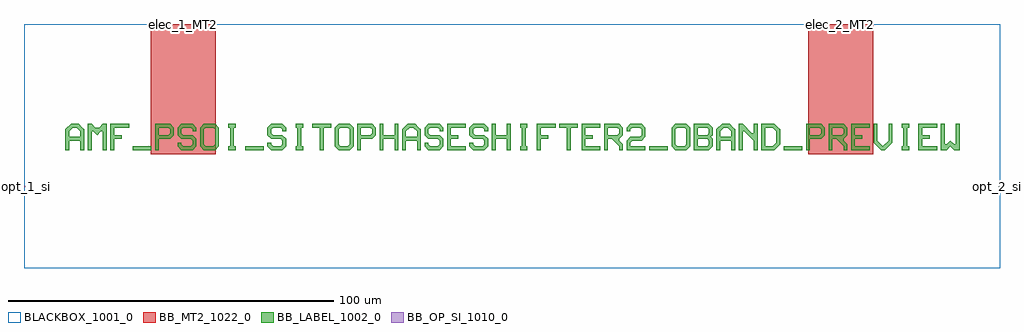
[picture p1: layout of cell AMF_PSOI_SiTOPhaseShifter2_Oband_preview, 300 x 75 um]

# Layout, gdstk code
import gdstk
lib = gdstk.Library(unit=1e-6, precision=1e-09)
def R(c, l, rs):  # rectangles x0, y0, x1, y1
    for r in rs: c.add(gdstk.rectangle(r[:2], r[2:], *l))
def P(c, l, *ps):  # polygons
    for p in ps: c.add(gdstk.Polygon(p, *l))
BLACKBOX_1001_0 = (1001, 0)
BB_LABEL_1002_0 = (1002, 0)
BB_OP_SI_1010_0 = (1010, 0)
BB_MT2_1022_0 = (1022, 0)

amf_psoi_sitophaseshifte = lib.new_cell('AMF_PSOI_SiTOPhaseShifter2_Oband_preview')
R(amf_psoi_sitophaseshifte, BLACKBOX_1001_0, [(0,-25,300,50)])
R(amf_psoi_sitophaseshifte, BB_LABEL_1002_0, [(33.436,11.25,39.186,12.4), (67.936,11.25,73.686,12.4), (192.136,11.25,197.886,12.4), (233.536,11.25,239.286,12.4)])
P(amf_psoi_sitophaseshifte, BB_LABEL_1002_0, [(12.736,11.25),(12.736,17.575),(14.461,19.3),(16.761,19.3),(17.911,18.15),(15.036,18.15),(13.886,17),(13.886,15.275),(17.336,15.275),(17.336,17),(16.186,18.15),(17.911,18.15),(18.486,17.575),(18.486,11.25),(17.336,11.25),(17.336,14.125),(13.886,14.125),(13.886,11.25)],
  [(19.636,11.25),(19.636,19.3),(20.786,19.3),(21.936,18.15),(23.086,18.15),(24.236,19.3),(25.386,19.3),(25.386,11.25),(24.236,11.25),(24.236,17),(23.661,17),(22.511,15.85),(21.361,17),(20.786,17),(20.786,11.25)],
  [(26.536,11.25),(26.536,19.3),(32.286,19.3),(32.286,18.15),(27.686,18.15),(27.686,15.85),(29.986,15.85),(29.986,14.7),(27.686,14.7),(27.686,11.25)],
  [(40.336,11.25),(40.336,19.3),(44.936,19.3),(46.086,18.15),(46.086,15.85),(44.936,14.7),(41.486,14.7),(41.486,15.85),(44.361,15.85),(44.936,16.425),(44.936,17.575),(44.361,18.15),(41.486,18.15),(41.486,11.25)],
  [(48.386,11.25),(47.236,12.4),(47.236,13.55),(48.386,13.55),(48.386,12.975),(48.961,12.4),(51.261,12.4),(51.836,12.975),(51.836,14.125),(51.261,14.7),(48.386,14.7),(47.236,15.85),(47.236,18.15),(48.386,19.3),(51.836,19.3),(52.986,18.15),(52.986,17),(51.836,17),(51.836,17.575),(51.261,18.15),(48.961,18.15),(48.386,17.575),(48.386,16.425),(48.961,15.85),(51.836,15.85),(52.986,14.7),(52.986,12.4),(51.836,11.25)],
  [(55.286,11.25),(54.136,12.4),(54.136,18.15),(55.286,19.3),(58.736,19.3),(59.886,18.15),(59.886,15.275),(58.736,15.275),(58.736,17.575),(58.161,18.15),(55.861,18.15),(55.286,17.575),(55.286,12.975),(55.861,12.4),(58.161,12.4),(58.736,12.975),(58.736,15.275),(59.886,15.275),(59.886,12.4),(58.736,11.25)],
  [(62.761,11.25),(62.761,12.4),(63.336,12.4),(63.336,18.15),(62.761,18.15),(62.761,19.3),(65.061,19.3),(65.061,18.15),(64.486,18.15),(64.486,12.4),(65.061,12.4),(65.061,11.25)],
  [(75.986,11.25),(74.836,12.4),(74.836,13.55),(75.986,13.55),(75.986,12.975),(76.561,12.4),(78.861,12.4),(79.436,12.975),(79.436,14.125),(78.861,14.7),(75.986,14.7),(74.836,15.85),(74.836,18.15),(75.986,19.3),(79.436,19.3),(80.586,18.15),(80.586,17),(79.436,17),(79.436,17.575),(78.861,18.15),(76.561,18.15),(75.986,17.575),(75.986,16.425),(76.561,15.85),(79.436,15.85),(80.586,14.7),(80.586,12.4),(79.436,11.25)],
  [(83.461,11.25),(83.461,12.4),(84.036,12.4),(84.036,18.15),(83.461,18.15),(83.461,19.3),(85.761,19.3),(85.761,18.15),(85.186,18.15),(85.186,12.4),(85.761,12.4),(85.761,11.25)],
  [(90.936,11.25),(90.936,18.15),(88.636,18.15),(88.636,19.3),(94.386,19.3),(94.386,18.15),(92.086,18.15),(92.086,11.25)],
  [(96.686,11.25),(95.536,12.4),(95.536,18.15),(96.686,19.3),(100.136,19.3),(101.286,18.15),(101.286,15.275),(100.136,15.275),(100.136,17.575),(99.561,18.15),(97.261,18.15),(96.686,17.575),(96.686,12.975),(97.261,12.4),(99.561,12.4),(100.136,12.975),(100.136,15.275),(101.286,15.275),(101.286,12.4),(100.136,11.25)],
  [(102.436,11.25),(102.436,19.3),(107.036,19.3),(108.186,18.15),(108.186,15.85),(107.036,14.7),(103.586,14.7),(103.586,15.85),(106.461,15.85),(107.036,16.425),(107.036,17.575),(106.461,18.15),(103.586,18.15),(103.586,11.25)],
  [(109.336,11.25),(109.336,19.3),(110.486,19.3),(110.486,15.85),(113.936,15.85),(113.936,19.3),(115.086,19.3),(115.086,11.25),(113.936,11.25),(113.936,14.7),(110.486,14.7),(110.486,11.25)],
  [(116.236,11.25),(116.236,17.575),(117.961,19.3),(120.261,19.3),(121.411,18.15),(118.536,18.15),(117.386,17),(117.386,15.275),(120.836,15.275),(120.836,17),(119.686,18.15),(121.411,18.15),(121.986,17.575),(121.986,11.25),(120.836,11.25),(120.836,14.125),(117.386,14.125),(117.386,11.25)],
  [(124.286,11.25),(123.136,12.4),(123.136,13.55),(124.286,13.55),(124.286,12.975),(124.861,12.4),(127.161,12.4),(127.736,12.975),(127.736,14.125),(127.161,14.7),(124.286,14.7),(123.136,15.85),(123.136,18.15),(124.286,19.3),(127.736,19.3),(128.886,18.15),(128.886,17),(127.736,17),(127.736,17.575),(127.161,18.15),(124.861,18.15),(124.286,17.575),(124.286,16.425),(124.861,15.85),(127.736,15.85),(128.886,14.7),(128.886,12.4),(127.736,11.25)],
  [(130.036,11.25),(130.036,19.3),(135.786,19.3),(135.786,18.15),(131.186,18.15),(131.186,15.85),(133.486,15.85),(133.486,14.7),(131.186,14.7),(131.186,12.4),(135.786,12.4),(135.786,11.25)],
  [(138.086,11.25),(136.936,12.4),(136.936,13.55),(138.086,13.55),(138.086,12.975),(138.661,12.4),(140.961,12.4),(141.536,12.975),(141.536,14.125),(140.961,14.7),(138.086,14.7),(136.936,15.85),(136.936,18.15),(138.086,19.3),(141.536,19.3),(142.686,18.15),(142.686,17),(141.536,17),(141.536,17.575),(140.961,18.15),(138.661,18.15),(138.086,17.575),(138.086,16.425),(138.661,15.85),(141.536,15.85),(142.686,14.7),(142.686,12.4),(141.536,11.25)],
  [(143.836,11.25),(143.836,19.3),(144.986,19.3),(144.986,15.85),(148.436,15.85),(148.436,19.3),(149.586,19.3),(149.586,11.25),(148.436,11.25),(148.436,14.7),(144.986,14.7),(144.986,11.25)],
  [(152.461,11.25),(152.461,12.4),(153.036,12.4),(153.036,18.15),(152.461,18.15),(152.461,19.3),(154.761,19.3),(154.761,18.15),(154.186,18.15),(154.186,12.4),(154.761,12.4),(154.761,11.25)],
  [(157.636,11.25),(157.636,19.3),(163.386,19.3),(163.386,18.15),(158.786,18.15),(158.786,15.85),(161.086,15.85),(161.086,14.7),(158.786,14.7),(158.786,11.25)],
  [(166.836,11.25),(166.836,18.15),(164.536,18.15),(164.536,19.3),(170.286,19.3),(170.286,18.15),(167.986,18.15),(167.986,11.25)],
  [(171.436,11.25),(171.436,19.3),(177.186,19.3),(177.186,18.15),(172.586,18.15),(172.586,15.85),(174.886,15.85),(174.886,14.7),(172.586,14.7),(172.586,12.4),(177.186,12.4),(177.186,11.25)],
  [(178.336,11.25),(178.336,19.3),(182.936,19.3),(184.086,18.15),(179.486,18.15),(179.486,15.85),(182.361,15.85),(182.936,16.425),(182.936,17.575),(182.361,18.15),(184.086,18.15),(184.086,15.85),(182.936,14.7),(182.936,14.125),(184.086,12.975),(184.086,11.25),(182.936,11.25),(182.936,12.4),(180.636,14.7),(179.486,14.7),(179.486,11.25)],
  [(185.236,11.25),(185.236,14.125),(186.386,15.275),(189.261,15.275),(189.836,15.85),(189.836,17.575),(189.261,18.15),(186.961,18.15),(186.386,17.575),(186.386,17),(185.236,17),(185.236,18.15),(186.386,19.3),(189.836,19.3),(190.986,18.15),(190.986,15.275),(189.836,14.125),(186.961,14.125),(186.386,13.55),(186.386,12.4),(190.986,12.4),(190.986,11.25)],
  [(200.186,11.25),(199.036,12.4),(199.036,18.15),(200.186,19.3),(203.636,19.3),(204.786,18.15),(204.786,15.275),(203.636,15.275),(203.636,17.575),(203.061,18.15),(200.761,18.15),(200.186,17.575),(200.186,12.975),(200.761,12.4),(203.061,12.4),(203.636,12.975),(203.636,15.275),(204.786,15.275),(204.786,12.4),(203.636,11.25)],
  [(205.936,11.25),(205.936,19.3),(210.536,19.3),(211.686,18.15),(207.086,18.15),(207.086,15.85),(209.961,15.85),(210.536,16.425),(210.536,17.575),(209.961,18.15),(211.686,18.15),(211.686,15.85),(211.111,15.275),(211.686,14.7),(207.086,14.7),(207.086,12.4),(209.961,12.4),(210.536,12.975),(210.536,14.125),(209.961,14.7),(211.686,14.7),(211.686,12.4),(210.536,11.25)],
  [(212.836,11.25),(212.836,17.575),(214.561,19.3),(216.861,19.3),(218.011,18.15),(215.136,18.15),(213.986,17),(213.986,15.275),(217.436,15.275),(217.436,17),(216.286,18.15),(218.011,18.15),(218.586,17.575),(218.586,11.25),(217.436,11.25),(217.436,14.125),(213.986,14.125),(213.986,11.25)],
  [(219.736,11.25),(219.736,19.3),(220.886,19.3),(223.761,16.425),(224.336,16.425),(224.336,19.3),(225.486,19.3),(225.486,11.25),(224.336,11.25),(224.336,14.125),(221.461,17),(220.886,17),(220.886,11.25)],
  [(226.636,11.25),(226.636,19.3),(230.661,19.3),(231.811,18.15),(227.786,18.15),(227.786,12.4),(230.086,12.4),(231.236,13.55),(231.236,17),(230.086,18.15),(231.811,18.15),(232.386,17.575),(232.386,12.975),(230.661,11.25)],
  [(240.436,11.25),(240.436,19.3),(245.036,19.3),(246.186,18.15),(246.186,15.85),(245.036,14.7),(241.586,14.7),(241.586,15.85),(244.461,15.85),(245.036,16.425),(245.036,17.575),(244.461,18.15),(241.586,18.15),(241.586,11.25)],
  [(247.336,11.25),(247.336,19.3),(251.936,19.3),(253.086,18.15),(248.486,18.15),(248.486,15.85),(251.361,15.85),(251.936,16.425),(251.936,17.575),(251.361,18.15),(253.086,18.15),(253.086,15.85),(251.936,14.7),(251.936,14.125),(253.086,12.975),(253.086,11.25),(251.936,11.25),(251.936,12.4),(249.636,14.7),(248.486,14.7),(248.486,11.25)],
  [(254.236,11.25),(254.236,19.3),(259.986,19.3),(259.986,18.15),(255.386,18.15),(255.386,15.85),(257.686,15.85),(257.686,14.7),(255.386,14.7),(255.386,12.4),(259.986,12.4),(259.986,11.25)],
  [(263.436,11.25),(261.136,13.55),(261.136,19.3),(262.286,19.3),(262.286,14.125),(264.011,12.4),(265.736,14.125),(265.736,19.3),(266.886,19.3),(266.886,13.55),(264.586,11.25)],
  [(269.761,11.25),(269.761,12.4),(270.336,12.4),(270.336,18.15),(269.761,18.15),(269.761,19.3),(272.061,19.3),(272.061,18.15),(271.486,18.15),(271.486,12.4),(272.061,12.4),(272.061,11.25)],
  [(274.936,11.25),(274.936,19.3),(280.686,19.3),(280.686,18.15),(276.086,18.15),(276.086,15.85),(278.386,15.85),(278.386,14.7),(276.086,14.7),(276.086,12.4),(280.686,12.4),(280.686,11.25)],
  [(281.836,11.25),(281.836,19.3),(282.986,19.3),(282.986,12.975),(283.561,12.975),(284.711,14.125),(285.861,12.975),(286.436,12.975),(286.436,19.3),(287.586,19.3),(287.586,11.25),(285.861,11.25),(284.711,12.4),(283.561,11.25)])
R(amf_psoi_sitophaseshifte, BB_OP_SI_1010_0, [(0,-0.205,0.41,0.205), (299.59,-0.205,300,0.205)])
R(amf_psoi_sitophaseshifte, BB_MT2_1022_0, [(39,10,59,50), (241,10,261,50)])
amf_psoi_sitophaseshifte.add(gdstk.Label('opt_2_si', (300,0), layer=1010, texttype=0))
amf_psoi_sitophaseshifte.add(gdstk.Label('opt_1_si', (0,0), layer=1010, texttype=0))
amf_psoi_sitophaseshifte.add(gdstk.Label('elec_2_MT2', (251,50), layer=1022, texttype=0))
amf_psoi_sitophaseshifte.add(gdstk.Label('elec_1_MT2', (49,50), layer=1022, texttype=0))

lib.write_gds('AMF_PSOI_SiTOPhaseShifter2_Oband_preview.gds')
